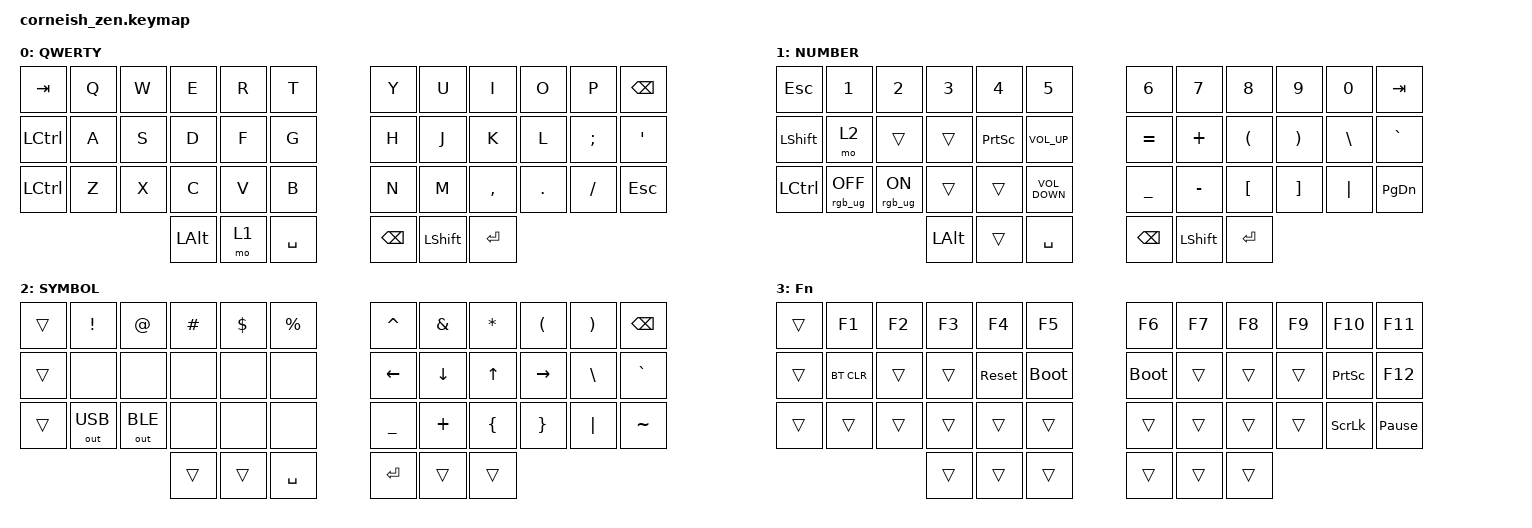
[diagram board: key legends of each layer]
/*
 * Copyright (c) 2020 The ZMK Contributors
 *
 * SPDX-License-Identifier: MIT
 */

#include <behaviors.dtsi>
#include <dt-bindings/zmk/bt.h>
#include <dt-bindings/zmk/keys.h>
#include <dt-bindings/zmk/outputs.h>
#include <dt-bindings/zmk/rgb.h>

/ {
    chosen {
        zmk,matrix_transform = &default_transform;

        // zmk,matrix_transform = &five_column_transform;
    };
};

/ {
    behaviors {
        td0: td0 {
            compatible = "zmk,behavior-tap-dance";
            label = "TD0";
            #binding-cells = <0>;
            bindings = <&kp LEFT_SHIFT>, <&kp CAPS>;
        };
    };

    keymap {
        compatible = "zmk,keymap";

        default_layer {
            display-name = "QWERTY";

            // --------------------------------------------------------------------------------
            // |  TAB |  Q  |  W  |  E  |  R  |  T  |   |  Y  |  U   |  I  |  O  |  P  | BKSP |
            // | CTRL |  A  |  S  |  D  |  F  |  G  |   |  H  |  J   |  K  |  L  |  ;  |  '   | 
            // | SHFT |  Z  |  X  |  C  |  V  |  B  |   |  N  |  M   |  ,  |  .  |  /  | ESC  |
            //                    | GUI | LWR | SPC |   | ENT | RSE  | ALT |

            bindings = <
&kp TAB    &kp Q  &kp W  &kp E         &kp R  &kp T        &kp Y          &kp U       &kp I      &kp O    &kp P     &kp BSPC
&kp LCTRL  &kp A  &kp S  &kp D         &kp F  &kp G        &kp H          &kp J       &kp K      &kp L    &kp SEMI  &kp SQT
&kp LCTRL  &kp Z  &kp X  &kp C         &kp V  &kp B        &kp N          &kp M       &kp COMMA  &kp DOT  &kp FSLH  &kp ESC
                         &kp LEFT_ALT  &mo 1  &kp SPACE    &kp BACKSPACE  &kp LSHIFT  &kp ENTER
            >;
        };

        lower_layer {
            display-name = "NUMBER";

            // -----------------------------------------------------------------------------------------
            // |  TAB |  1  |  2  |  3  |  4  |  5  |   |  6  |  7  |  8  |  9  |  0  | BKSP |
            // | BTCLR| BT1 | BT2 | BT3 | BT4 | BT5 |   | LFT | DWN |  UP | RGT |     |      |
            // | SHFT |     |     |     |     |     |   |     |     |     |     |     |      |
            //                    | GUI |     | SPC |   | ENT |     | ALT |

            bindings = <
&kp ESCAPE  &kp N1           &kp N2          &kp N3        &kp N4           &kp N5               &kp N6         &kp N7      &kp N8                &kp N9                 &kp N0         &kp TAB
&kp LSHIFT  &mo 2            &trans          &trans        &kp PRINTSCREEN  &kp K_VOLUME_UP      &kp EQUAL      &kp PLUS    &kp LEFT_PARENTHESIS  &kp RIGHT_PARENTHESIS  &kp BACKSLASH  &kp GRAVE
&kp LCTRL   &rgb_ug RGB_OFF  &rgb_ug RGB_ON  &trans        &trans           &kp K_VOLUME_DOWN    &kp UNDER      &kp MINUS   &kp LEFT_BRACKET      &kp RIGHT_BRACKET      &kp PIPE       &kp PG_DN
                                             &kp LEFT_ALT  &trans           &kp SPACE            &kp BACKSPACE  &kp LSHIFT  &kp ENTER
            >;
        };

        raise_layer {
            display-name = "SYMBOL";

            // -----------------------------------------------------------------------------------------
            // |  TAB |  !  |  @  |  #  |  $  |  %  |   |  ^  |  &  |  *  |  (  |  )  | BKSP |
            // | CTRL |     |     |     |     |     |   |  -  |  =  |  [  |  ]  |  \  |  `   |
            // | SHFT |     |     |     |     |     |   |  _  |  +  |  {  |  }  | "|" |  ~   |
            //                    | GUI |     | SPC |   | ENT |     | ALT |

            bindings = <
&trans  &kp EXCL      &kp AT        &kp HASH  &kp DLLR  &kp PRCNT    &kp CARET  &kp AMPS  &kp ASTRK     &kp LPAR   &kp RPAR  &kp BSPC
&trans  &none         &none         &none     &none     &none        &kp LEFT   &kp DOWN  &kp UP_ARROW  &kp RIGHT  &kp BSLH  &kp GRAVE
&trans  &out OUT_USB  &out OUT_BLE  &none     &none     &none        &kp UNDER  &kp PLUS  &kp LBRC      &kp RBRC   &kp PIPE  &kp TILDE
                                    &trans    &trans    &kp SPACE    &kp RET    &trans    &trans
            >;
        };

        layer_3 {
            display-name = "Fn";
            bindings = <
&trans  &kp F1      &kp F2  &kp F3  &kp F4      &kp F5         &kp F6       &kp F7  &kp F8  &kp F9  &kp F10          &kp F11
&trans  &bt BT_CLR  &trans  &trans  &sys_reset  &bootloader    &bootloader  &trans  &trans  &trans  &kp PRINTSCREEN  &kp F12
&trans  &trans      &trans  &trans  &trans      &trans         &trans       &trans  &trans  &trans  &kp SCROLLLOCK   &kp PAUSE_BREAK
                            &trans  &trans      &trans         &trans       &trans  &trans
            >;
        };
    };
};
